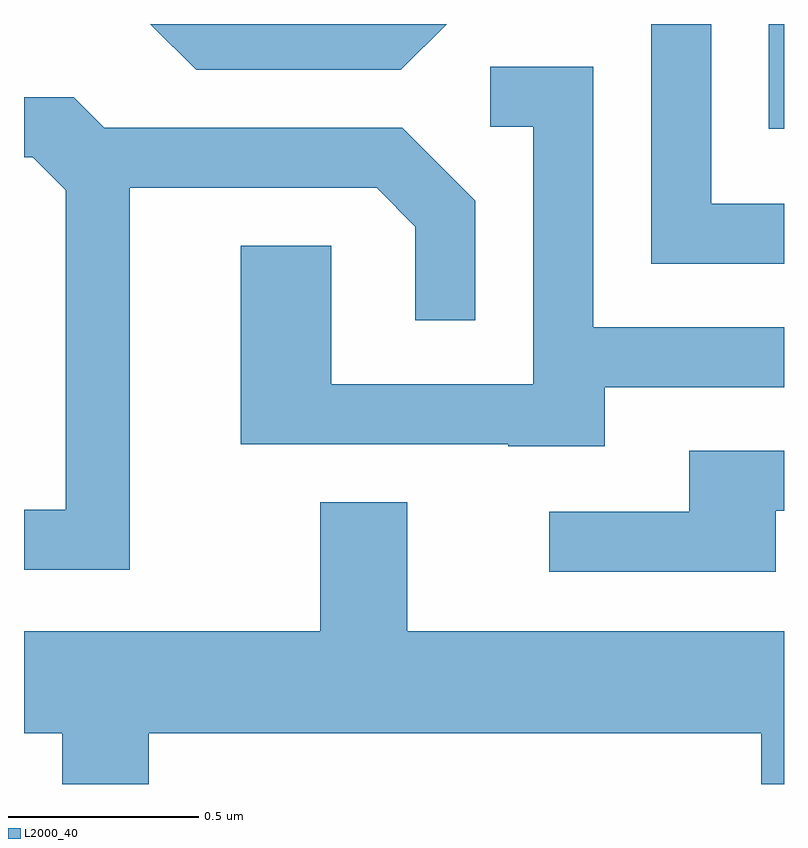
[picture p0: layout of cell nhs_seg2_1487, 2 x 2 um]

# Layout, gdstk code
import gdstk
lib = gdstk.Library(unit=1e-6, precision=1e-09)
def R(c, l, rs):  # rectangles x0, y0, x1, y1
    for r in rs: c.add(gdstk.rectangle(r[:2], r[2:], *l))
def P(c, l, *ps):  # polygons
    for p in ps: c.add(gdstk.Polygon(p, *l))
L2000_40 = (2000, 40)

nhs_seg2_1487 = lib.new_cell('nhs_seg2_1487')
R(nhs_seg2_1487, L2000_40, [(197.571,1096.526,197.611,1096.802)])
P(nhs_seg2_1487, L2000_40, [(196.723,1096.802),(195.943,1096.802),(196.064,1096.681),(196.602,1096.681)],
  [(197.611,1096.329),(197.419,1096.329),(197.419,1096.802),(197.261,1096.802),(197.261,1096.171),(197.611,1096.171)],
  [(197.139,1095.846),(197.611,1095.846),(197.611,1096.004),(197.109,1096.004),(197.109,1096.689),(196.838,1096.689),(196.838,1096.531),(196.951,1096.531),(196.951,1095.854),(196.419,1095.854),(196.419,1096.219),(196.181,1096.219),(196.181,1095.696),(196.885,1095.696),(196.885,1095.691),(197.139,1095.691)],
  [(195.889,1096.371),(196.539,1096.371),(196.641,1096.269),(196.641,1096.023),(196.799,1096.023),(196.799,1096.337),(196.607,1096.529),(195.822,1096.529),(195.742,1096.609),(195.611,1096.609),(195.611,1096.451),(195.634,1096.451),(195.721,1096.364),(195.721,1095.524),(195.611,1095.524),(195.611,1095.366),(195.889,1095.366)],
  [(197.589,1095.521),(197.611,1095.521),(197.611,1095.679),(197.361,1095.679),(197.361,1095.519),(196.993,1095.519),(196.993,1095.361),(197.589,1095.361)],
  [(195.939,1094.936),(197.551,1094.936),(197.551,1094.802),(197.611,1094.802),(197.611,1095.204),(196.619,1095.204),(196.619,1095.544),(196.391,1095.544),(196.391,1095.204),(195.611,1095.204),(195.611,1094.936),(195.711,1094.936),(195.711,1094.802),(195.939,1094.802)])

lib.write_gds('nhs_seg2_1487.gds')
